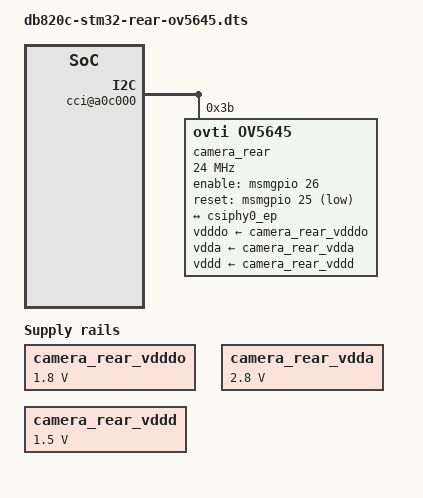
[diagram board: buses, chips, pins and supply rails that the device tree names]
/dts-v1/;
/plugin/;

#include <dt-bindings/clock/qcom,mmcc-msm8996.h>
#include <dt-bindings/gpio/gpio.h>

/ {
	fragment@0 {
		target-path = "/soc";
		__overlay__ {
			camera_rear_vdddo: fixedregulator_camera_rear@0 {
				compatible = "regulator-fixed";
				regulator-name = "camera_rear_vdddo";
				regulator-min-microvolt = <1800000>;
				regulator-max-microvolt = <1800000>;
				regulator-always-on;
			};

			camera_rear_vdda: fixedregulator_camera_rear@1 {
				compatible = "regulator-fixed";
				regulator-name = "camera_rear_vdda";
				regulator-min-microvolt = <2800000>;
				regulator-max-microvolt = <2800000>;
				regulator-always-on;
			};

			camera_rear_vddd: fixedregulator_camera_rear@2 {
				compatible = "regulator-fixed";
				regulator-name = "camera_rear_vddd";
				regulator-min-microvolt = <1500000>;
				regulator-max-microvolt = <1500000>;
				regulator-always-on;
			};
		};
	};

	fragment@1 {
		target-path = "/soc/cci@a0c000";
		__overlay__ {
			status = "ok";

			camera_rear@3b {
				compatible = "ovti,ov5645";
				reg = <0x3b>;

				enable-gpios = <&msmgpio 26 GPIO_ACTIVE_HIGH>;
				reset-gpios = <&msmgpio 25 GPIO_ACTIVE_LOW>;
				pinctrl-names = "default";
				pinctrl-0 = <&camera_rear_default>;

				clocks = <&mmcc CAMSS_MCLK0_CLK>;
				clock-names = "xclk";
				clock-frequency = <24000000>;

				vdddo-supply = <&camera_rear_vdddo>;
				vdda-supply = <&camera_rear_vdda>;
				vddd-supply = <&camera_rear_vddd>;

				status = "ok";

				port {
					camera_rear_ep: endpoint {
						clock-lanes = <1>;
						data-lanes = <0 2>;
						remote-endpoint = <&csiphy0_ep>;
					};
				};
			};
		};
	};

	fragment@2 {
		target-path = "/soc/camss@a00000";
		__overlay__ {
			status = "ok";

			ports {
				#address-cells = <1>;
				#size-cells = <0>;
				port@0 {
					reg = <0>;
					csiphy0_ep: endpoint {
						clock-lanes = <7>;
						data-lanes = <0 1>;
						remote-endpoint = <&camera_rear_ep>;
						status = "ok";
					};
				};
			};
		};
	};
};
